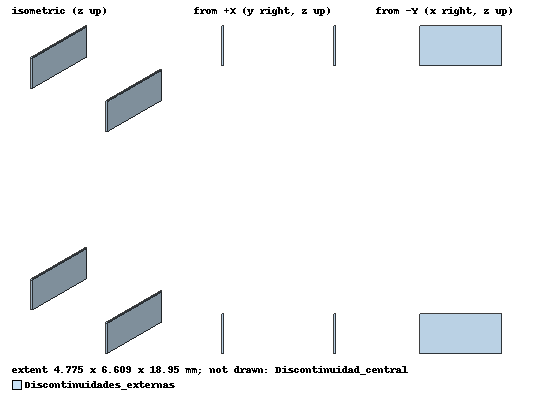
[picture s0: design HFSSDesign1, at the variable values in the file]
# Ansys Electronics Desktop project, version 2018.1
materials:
  vacuum: permittivity=1
  air: permittivity=1.0006 permeability=1.0000004

design HFSSDesign1 (HFSS, DrivenModal, model units mm)
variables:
  separacion_guias = lamda_cero/4
  b_guia = 2.3856mm
  lamda_g = 9.0076mm
  largo_entrada = lamda_g
  a_guia = 4.7752mm
  l_hybrid = largo_entrada + largo_slot*(numero_branches - 2) + 2*largo_slots_externos +  separacion_slots*(numero_branches - 1)  + largo_salida
  largo_slot = c*b_guia
  numero_branches = 8
  largo_salida = lamda_g
  separacion_slots = lamda_g_cero/4
  largo_slots_externos = a * b_guia
  a = a_c*c
  c = 0.2
  lamda_cero = 6.5528mm
  largo_discontinuidad_a = 0.2mm
  largo_discontinuidad_externa = 0.1mm
  lamda_g_cero = 9.1925mm
  a_c = 0.9
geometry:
  Estructura_principal = box(corner=(0mm, 0mm, 0mm), size=(- (a_guia), 2*b_guia + separacion_guias, l_hybrid))
  sacado_entrada = box(corner=(0mm, b_guia, 0mm), size=(-a_guia, separacion_guias, largo_entrada))
  sacado_entrada_1 = sacado_entrada.copy()
  sacado_salida = box(corner=(0mm, b_guia, largo_entrada + largo_slot*(numero_branches - 2) + 2*largo_slots_externos + separacion_slots*(numero_branches - 1)), size=(-a_guia, separacion_guias, largo_salida))
  sacado_salida_1 = sacado_salida.copy()
  Slots = box(corner=(0mm, b_guia, largo_entrada + largo_slots_externos), size=(-a_guia, separacion_guias, separacion_slots))
  Slots.duplicate_along_line(step=(0mm, 0mm, largo_slot + separacion_slots), total=(numero_branches - 1), attached)
  Slots_1 = Slots.copy()
  Estructura_principal.subtract(sacado_entrada_1, sacado_salida_1, Slots_1)
  [Slots, sacado_entrada, sacado_salida].delete()
  Discontinuidad_central [air] = box(corner=(0mm, 2*b_guia + separacion_guias, largo_entrada + largo_slots_externos +3*(largo_slot + separacion_slots)), size=(-a_guia, largo_discontinuidad_a, separacion_slots))
  Discontinuidad_central.duplicate_along_line(step=(0mm, -2*b_guia - separacion_guias - largo_discontinuidad_a, 0mm), total=2, attached)
  Discontinuidad_central.unite(Estructura_principal)
  Discontinuidades_externas [air] = box(corner=(0mm, 2*b_guia + separacion_guias, largo_entrada + largo_slots_externos), size=(-a_guia, largo_discontinuidad_externa, separacion_slots))
  Discontinuidades_externas.duplicate_along_line(step=(0mm, -2*b_guia - separacion_guias - largo_discontinuidad_externa, 0mm), total=2, attached)
  Discontinuidades_externas.duplicate_along_line(step=(0mm, 0mm, 6*largo_slot + 6*separacion_slots), total=2, attached)
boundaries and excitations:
  P1: Wave Port Faces=Discontinuidad_central.face(#1768) NumModes=1 Modes{Mode1{CharImp=Zpi}}
  P4: Wave Port Faces=Discontinuidad_central.face(#1766) NumModes=1 Modes{Mode1{CharImp=Zpi}}
  P2: Wave Port Faces=Discontinuidad_central.face(#1762) NumModes=1 Modes{Mode1{CharImp=Zpi}}
  P3: Wave Port Faces=Discontinuidad_central.face(#1767) NumModes=1 Modes{Mode1{CharImp=Zpi}}
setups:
  Setup1: HfssDriven Frequency=45.75GHz MaxDeltaS=0.02 MaximumPasses=6 MinimumPasses=1 MinimumConvergedPasses=1 PercentRefinement=30 BasisOrder=1 PortAccuracy=2
    sweep Sweep: 39GHz to 52.5GHz step 0.2GHz; Type=Interpolating InterpTolerance=0.5 InterpMaxSolns=250 InterpUsePortImped=false PassivityErrorTolerance=0.0001
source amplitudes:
  P1:1: 1W 0deg
  P4:1, P2:1, P3:1: 0W 0deg
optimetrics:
  ParametricSetup1: Parametric disabled Sim._Setups=[Setup1]
    sweep a_c: LIN 0.5 1.7 0.05
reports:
  S Parameter Plot 2: dB(S(P1,P1)), dB(S(P1,P4)) vs Freq on Setup1 : Sweep; markers MX1 at x=7.9012567e+10, MX2 at x=1.0378815e+11, MX3 at x=4.575e+10, MY1 at y=-16.5324
  S Parameter Plot 3: dB(S(P3,P4)) vs Freq on Setup1 : Sweep; markers MX1 at x=4.575e+10, MY1 at y=-3.0414
   Plot 1: abs(cang_deg(S(P1,P2)) - cang_deg(S(P1,P3))) vs Freq on Setup1 : Sweep [c=0.181102 lamda_g_cero=4.3496mm]; markers MX1 at x=7.9392503e+10, MX2 at x=1.0374991e+11, MY1 at y=1.56592
   Plot 2: abs(cang_deg(S(P1,P2)) - cang_deg(S(P1,P3))) vs Freq on Setup1 : Sweep [c=all lamda_g_cero=all]; markers MX1 at x=3.9505347e+10, MX2 at x=5.1898401e+10, MY1 at y=1.59753
  S Parameter Plot 5: dB(S(P1,P2)), dB(S(P1,P3)) vs Freq on Setup1 : Sweep [b_guia=2.3856mm lamda_g=9.0076mm a_guia=4.7752mm c=0.2 lamda_cero=6.5528mm largo_discontinuidad_a=0.2mm lamda_g_cero=9.1925mm a_c=0.9]; markers m1 at 45.6GHz, m2 at 45.6GHz, MX1 at x=5.1895372e+10, MX2 at x=4.575e+10, MX3 at x=3.9501292e+10, MY1 at y=-3
